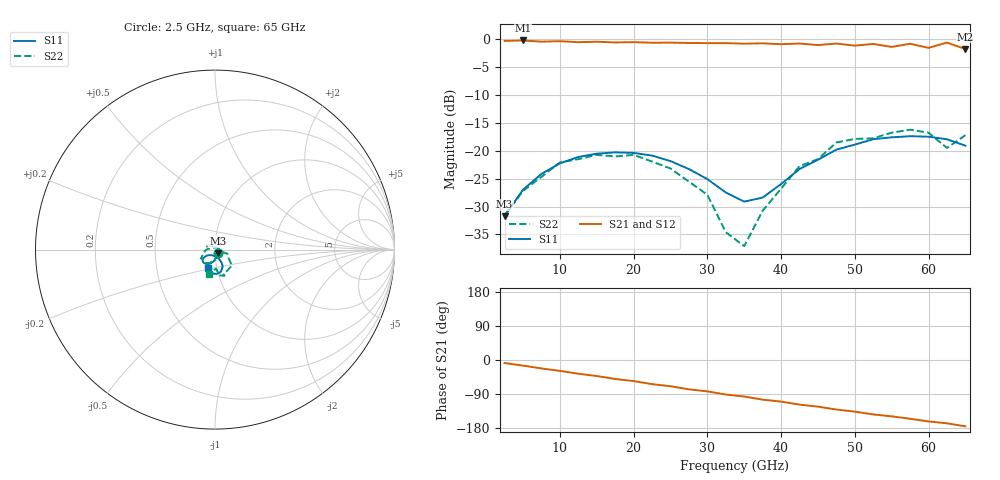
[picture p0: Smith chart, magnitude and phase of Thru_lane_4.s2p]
! File created by SignalIntegrity v1.5.1: Signal and Power Integrity Tools
! https://github.com/Nubis-Communications/SignalIntegrity
# MHz S MA R 50.0
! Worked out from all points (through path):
!   26 points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, 2.5 GHz to 65 GHz, reference 50 ohm
!   highest |S21| = -0.18 dB at 5 GHz (marker M1); lowest = -1.7 dB at 65 GHz (marker M2)
!   group delay of S21, straight-line fit = 7.41 ps
!   lowest |S11| = -31.7 dB at 2.5 GHz (marker M3), VSWR 1.05, Z = 51.5 - j2.16 ohm
!   |S11| at or under -10 dB: start of sweep to end of sweep
!   |S22| runs from -37.1 to -16.2 dB; largest |S21 - S12| = 0.06
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2500  0.02591 -54.0  0.9697 -8.0  0.9672 -8.0  0.02642 -50.9
5000  0.04489 -79.8  0.9791 -14.8  0.9788 -14.9  0.0438 -83.4
7500  0.06215 -94.0  0.9552 -22.3  0.9535 -22.3  0.05848 -95.7
10000  0.07732 -105.1  0.9646 -28.7  0.9651 -28.7  0.07886 -109.9
15000  0.09439 -122.1  0.9541 -42.3  0.9551 -42.3  0.09219 -128.8
20000  0.0959 -134.4  0.9453 -55.7  0.9465 -55.8  0.09207 -148.4
25000  0.08098 -143.8  0.936 -69.2  0.9384 -69.3  0.06945 -162.6
30000  0.05582 -144.0  0.9267 -82.8  0.9296 -82.8  0.04039 174.6
32500  0.04235 -132.8  0.9262 -91.1  0.9218 -91.1  0.01864 154.8
35000  0.03507 -113.5  0.9162 -96.3  0.9201 -96.2  0.01397 75.4
37500  0.03811 -85.0  0.9224 -104.6  0.9177 -104.8  0.02903 5.7
40000  0.05043 -69.5  0.9065 -109.8  0.9095 -109.6  0.04587 -18.4
42500  0.06874 -63.8  0.919 -117.7  0.9128 -118.2  0.07296 -18.1
45000  0.08324 -63.6  0.8905 -123.1  0.898 -122.6  0.08422 -29.6
47500  0.1026 -65.1  0.9182 -130.7  0.9063 -131.4  0.1189 -41.3
50000  0.1139 -70.2  0.8797 -136.2  0.8804 -135.6  0.1281 -45.9
52500  0.1273 -74.8  0.9109 -143.7  0.9039 -144.2  0.1297 -44.6
55000  0.1324 -81.0  0.857 -148.7  0.8654 -147.9  0.1457 -70.5
57500  0.1354 -86.1  0.9144 -155.1  0.913 -156.5  0.1549 -70.1
60000  0.1342 -94.1  0.8403 -162.1  0.847 -159.8  0.1457 -80.4
62500  0.1272 -98.7  0.937 -167.1  0.9363 -169.0  0.1064 -86.7
65000  0.1114 -109.3  0.8205 -175.1  0.815 -170.9  0.1383 -103.5
